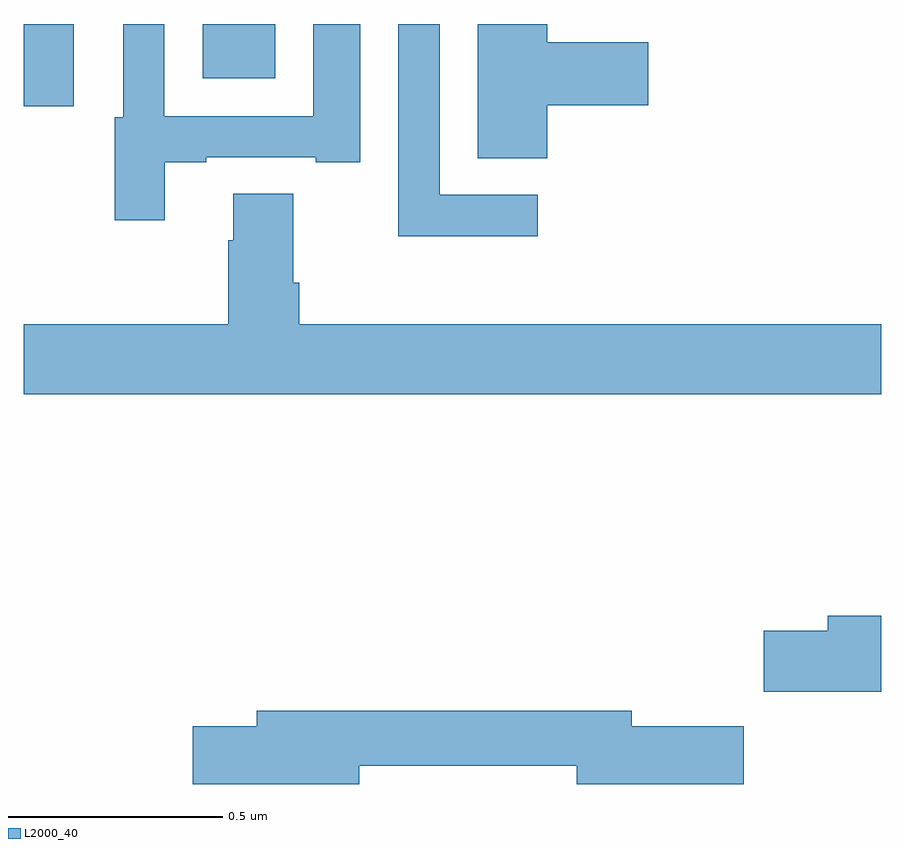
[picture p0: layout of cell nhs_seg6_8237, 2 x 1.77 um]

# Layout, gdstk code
import gdstk
lib = gdstk.Library(unit=1e-6, precision=1e-09)
def R(c, l, rs):  # rectangles x0, y0, x1, y1
    for r in rs: c.add(gdstk.rectangle(r[:2], r[2:], *l))
def P(c, l, *ps):  # polygons
    for p in ps: c.add(gdstk.Polygon(p, *l))
L2000_40 = (2000, 40)

nhs_seg6_8237 = lib.new_cell('nhs_seg6_8237')
R(nhs_seg6_8237, L2000_40, [(218,981.308,218.116,981.5), (218.417,981.374,218.587,981.5)])
P(nhs_seg6_8237, L2000_40, [(219.199,981.102),(218.97,981.102),(218.97,981.5),(218.874,981.5),(218.874,981.005),(219.199,981.005)],
  [(218.329,981.177),(218.425,981.177),(218.425,981.189),(218.681,981.189),(218.681,981.177),(218.785,981.177),(218.785,981.5),(218.675,981.5),(218.675,981.285),(218.328,981.285),(218.328,981.5),(218.232,981.5),(218.232,981.282),(218.212,981.282),(218.212,981.042),(218.329,981.042)],
  [(219.221,981.311),(219.457,981.311),(219.457,981.458),(219.221,981.458),(219.221,981.5),(219.059,981.5),(219.059,981.187),(219.221,981.187)],
  [(220,980.8),(218.642,980.8),(218.642,980.896),(218.629,980.896),(218.629,981.104),(218.489,981.104),(218.489,980.996),(218.477,980.996),(218.477,980.8),(218,980.8),(218,980.636),(220,980.636)],
  [(220,980.12),(219.875,980.12),(219.875,980.084),(219.726,980.084),(219.726,979.942),(220,979.942)],
  [(218.782,979.77),(219.29,979.77),(219.29,979.727),(219.679,979.727),(219.679,979.862),(219.418,979.862),(219.418,979.898),(218.543,979.898),(218.543,979.862),(218.394,979.862),(218.394,979.727),(218.782,979.727)])

lib.write_gds('nhs_seg6_8237.gds')
